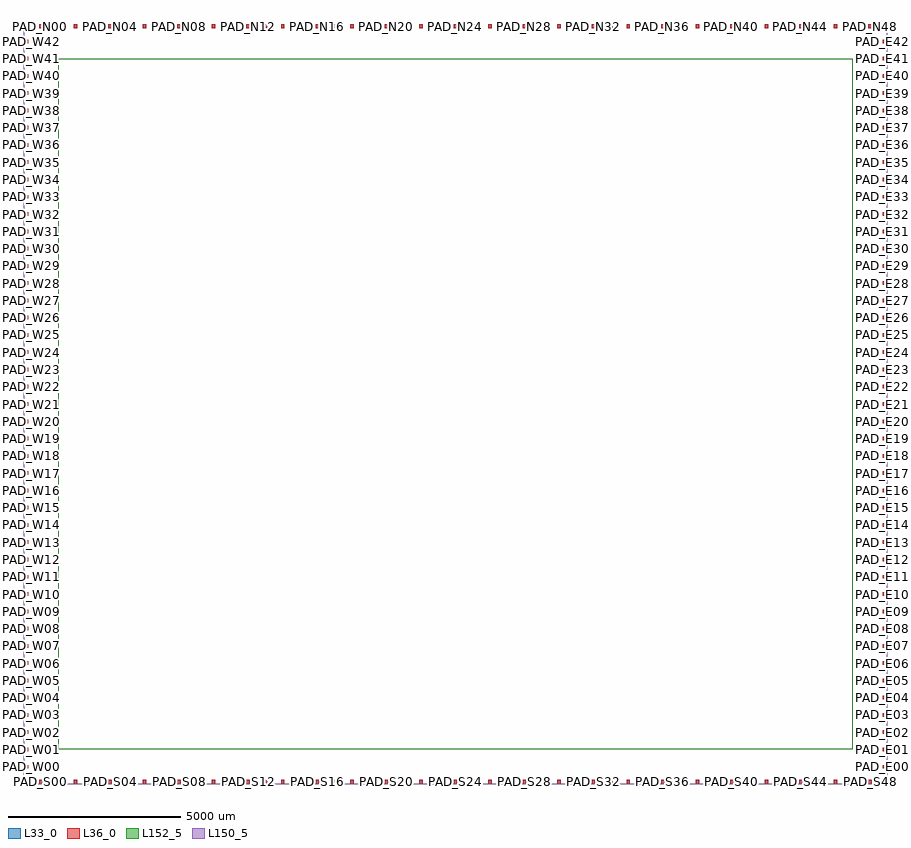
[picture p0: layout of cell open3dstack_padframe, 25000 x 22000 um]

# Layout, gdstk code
import gdstk
lib = gdstk.Library(unit=1e-6, precision=1e-09)
def R(c, l, rs):  # rectangles x0, y0, x1, y1
    for r in rs: c.add(gdstk.rectangle(r[:2], r[2:], *l))
def A(c, l, x, y, w, h, nx, ny, dx, dy):  # array of equal rectangles
    R(c, l, [(x+i*dx, y+j*dy, x+i*dx+w, y+j*dy+h) for i in range(nx) for j in range(ny)])
L33_0 = (33, 0)
L36_0 = (36, 0)
L150_5 = (150, 5)
L152_5 = (152, 5)

open3dstack_padframe = lib.new_cell('open3dstack_padframe')
A(open3dstack_padframe, L33_0, 450, 0, 100, 130, 49, 2, 500, 21870)
A(open3dstack_padframe, L33_0, 0, 450, 130, 100, 1, 43, 0, 500)
A(open3dstack_padframe, L33_0, 24870, 450, 130, 100, 1, 43, 0, 500)
A(open3dstack_padframe, L36_0, 450, 0, 100, 130, 49, 2, 500, 21870)
A(open3dstack_padframe, L36_0, 0, 450, 130, 100, 1, 43, 0, 500)
A(open3dstack_padframe, L36_0, 24870, 450, 130, 100, 1, 43, 0, 500)
R(open3dstack_padframe, L150_5, [(0,0,25000,10), (0,0,10,22000), (24990,0,25000,22000), (0,21990,25000,22000)])
R(open3dstack_padframe, L152_5, [(1000,1000,24000,1020), (1000,1000,1020,21000), (23980,1000,24000,21000), (1000,20980,24000,21000)])
open3dstack_padframe.add(gdstk.Label('PAD_S00', (500,65), layer=54, texttype=3))
open3dstack_padframe.add(gdstk.Label('PAD_S01', (1000,65), layer=54, texttype=3))
open3dstack_padframe.add(gdstk.Label('PAD_S02', (1500,65), layer=54, texttype=3))
open3dstack_padframe.add(gdstk.Label('PAD_S03', (2000,65), layer=54, texttype=3))
open3dstack_padframe.add(gdstk.Label('PAD_S04', (2500,65), layer=54, texttype=3))
open3dstack_padframe.add(gdstk.Label('PAD_S05', (3000,65), layer=54, texttype=3))
open3dstack_padframe.add(gdstk.Label('PAD_S06', (3500,65), layer=54, texttype=3))
open3dstack_padframe.add(gdstk.Label('PAD_S07', (4000,65), layer=54, texttype=3))
open3dstack_padframe.add(gdstk.Label('PAD_S08', (4500,65), layer=54, texttype=3))
open3dstack_padframe.add(gdstk.Label('PAD_S09', (5000,65), layer=54, texttype=3))
open3dstack_padframe.add(gdstk.Label('PAD_S10', (5500,65), layer=54, texttype=3))
open3dstack_padframe.add(gdstk.Label('PAD_S11', (6000,65), layer=54, texttype=3))
open3dstack_padframe.add(gdstk.Label('PAD_S12', (6500,65), layer=54, texttype=3))
open3dstack_padframe.add(gdstk.Label('PAD_S13', (7000,65), layer=54, texttype=3))
open3dstack_padframe.add(gdstk.Label('PAD_S14', (7500,65), layer=54, texttype=3))
open3dstack_padframe.add(gdstk.Label('PAD_S15', (8000,65), layer=54, texttype=3))
open3dstack_padframe.add(gdstk.Label('PAD_S16', (8500,65), layer=54, texttype=3))
open3dstack_padframe.add(gdstk.Label('PAD_S17', (9000,65), layer=54, texttype=3))
open3dstack_padframe.add(gdstk.Label('PAD_S18', (9500,65), layer=54, texttype=3))
open3dstack_padframe.add(gdstk.Label('PAD_S19', (10000,65), layer=54, texttype=3))
open3dstack_padframe.add(gdstk.Label('PAD_S20', (10500,65), layer=54, texttype=3))
open3dstack_padframe.add(gdstk.Label('PAD_S21', (11000,65), layer=54, texttype=3))
open3dstack_padframe.add(gdstk.Label('PAD_S22', (11500,65), layer=54, texttype=3))
open3dstack_padframe.add(gdstk.Label('PAD_S23', (12000,65), layer=54, texttype=3))
open3dstack_padframe.add(gdstk.Label('PAD_S24', (12500,65), layer=54, texttype=3))
open3dstack_padframe.add(gdstk.Label('PAD_S25', (13000,65), layer=54, texttype=3))
open3dstack_padframe.add(gdstk.Label('PAD_S26', (13500,65), layer=54, texttype=3))
open3dstack_padframe.add(gdstk.Label('PAD_S27', (14000,65), layer=54, texttype=3))
open3dstack_padframe.add(gdstk.Label('PAD_S28', (14500,65), layer=54, texttype=3))
open3dstack_padframe.add(gdstk.Label('PAD_S29', (15000,65), layer=54, texttype=3))
open3dstack_padframe.add(gdstk.Label('PAD_S30', (15500,65), layer=54, texttype=3))
open3dstack_padframe.add(gdstk.Label('PAD_S31', (16000,65), layer=54, texttype=3))
open3dstack_padframe.add(gdstk.Label('PAD_S32', (16500,65), layer=54, texttype=3))
open3dstack_padframe.add(gdstk.Label('PAD_S33', (17000,65), layer=54, texttype=3))
open3dstack_padframe.add(gdstk.Label('PAD_S34', (17500,65), layer=54, texttype=3))
open3dstack_padframe.add(gdstk.Label('PAD_S35', (18000,65), layer=54, texttype=3))
open3dstack_padframe.add(gdstk.Label('PAD_S36', (18500,65), layer=54, texttype=3))
open3dstack_padframe.add(gdstk.Label('PAD_S37', (19000,65), layer=54, texttype=3))
open3dstack_padframe.add(gdstk.Label('PAD_S38', (19500,65), layer=54, texttype=3))
open3dstack_padframe.add(gdstk.Label('PAD_S39', (20000,65), layer=54, texttype=3))
open3dstack_padframe.add(gdstk.Label('PAD_S40', (20500,65), layer=54, texttype=3))
open3dstack_padframe.add(gdstk.Label('PAD_S41', (21000,65), layer=54, texttype=3))
open3dstack_padframe.add(gdstk.Label('PAD_S42', (21500,65), layer=54, texttype=3))
open3dstack_padframe.add(gdstk.Label('PAD_S43', (22000,65), layer=54, texttype=3))
open3dstack_padframe.add(gdstk.Label('PAD_S44', (22500,65), layer=54, texttype=3))
open3dstack_padframe.add(gdstk.Label('PAD_S45', (23000,65), layer=54, texttype=3))
open3dstack_padframe.add(gdstk.Label('PAD_S46', (23500,65), layer=54, texttype=3))
open3dstack_padframe.add(gdstk.Label('PAD_S47', (24000,65), layer=54, texttype=3))
open3dstack_padframe.add(gdstk.Label('PAD_S48', (24500,65), layer=54, texttype=3))
open3dstack_padframe.add(gdstk.Label('PAD_E00', (24935,500), layer=54, texttype=3))
open3dstack_padframe.add(gdstk.Label('PAD_E01', (24935,1000), layer=54, texttype=3))
open3dstack_padframe.add(gdstk.Label('PAD_E02', (24935,1500), layer=54, texttype=3))
open3dstack_padframe.add(gdstk.Label('PAD_E03', (24935,2000), layer=54, texttype=3))
open3dstack_padframe.add(gdstk.Label('PAD_E04', (24935,2500), layer=54, texttype=3))
open3dstack_padframe.add(gdstk.Label('PAD_E05', (24935,3000), layer=54, texttype=3))
open3dstack_padframe.add(gdstk.Label('PAD_E06', (24935,3500), layer=54, texttype=3))
open3dstack_padframe.add(gdstk.Label('PAD_E07', (24935,4000), layer=54, texttype=3))
open3dstack_padframe.add(gdstk.Label('PAD_E08', (24935,4500), layer=54, texttype=3))
open3dstack_padframe.add(gdstk.Label('PAD_E09', (24935,5000), layer=54, texttype=3))
open3dstack_padframe.add(gdstk.Label('PAD_E10', (24935,5500), layer=54, texttype=3))
open3dstack_padframe.add(gdstk.Label('PAD_E11', (24935,6000), layer=54, texttype=3))
open3dstack_padframe.add(gdstk.Label('PAD_E12', (24935,6500), layer=54, texttype=3))
open3dstack_padframe.add(gdstk.Label('PAD_E13', (24935,7000), layer=54, texttype=3))
open3dstack_padframe.add(gdstk.Label('PAD_E14', (24935,7500), layer=54, texttype=3))
open3dstack_padframe.add(gdstk.Label('PAD_E15', (24935,8000), layer=54, texttype=3))
open3dstack_padframe.add(gdstk.Label('PAD_E16', (24935,8500), layer=54, texttype=3))
open3dstack_padframe.add(gdstk.Label('PAD_E17', (24935,9000), layer=54, texttype=3))
open3dstack_padframe.add(gdstk.Label('PAD_E18', (24935,9500), layer=54, texttype=3))
open3dstack_padframe.add(gdstk.Label('PAD_E19', (24935,10000), layer=54, texttype=3))
open3dstack_padframe.add(gdstk.Label('PAD_E20', (24935,10500), layer=54, texttype=3))
open3dstack_padframe.add(gdstk.Label('PAD_E21', (24935,11000), layer=54, texttype=3))
open3dstack_padframe.add(gdstk.Label('PAD_E22', (24935,11500), layer=54, texttype=3))
open3dstack_padframe.add(gdstk.Label('PAD_E23', (24935,12000), layer=54, texttype=3))
open3dstack_padframe.add(gdstk.Label('PAD_E24', (24935,12500), layer=54, texttype=3))
open3dstack_padframe.add(gdstk.Label('PAD_E25', (24935,13000), layer=54, texttype=3))
open3dstack_padframe.add(gdstk.Label('PAD_E26', (24935,13500), layer=54, texttype=3))
open3dstack_padframe.add(gdstk.Label('PAD_E27', (24935,14000), layer=54, texttype=3))
open3dstack_padframe.add(gdstk.Label('PAD_E28', (24935,14500), layer=54, texttype=3))
open3dstack_padframe.add(gdstk.Label('PAD_E29', (24935,15000), layer=54, texttype=3))
open3dstack_padframe.add(gdstk.Label('PAD_E30', (24935,15500), layer=54, texttype=3))
open3dstack_padframe.add(gdstk.Label('PAD_E31', (24935,16000), layer=54, texttype=3))
open3dstack_padframe.add(gdstk.Label('PAD_E32', (24935,16500), layer=54, texttype=3))
open3dstack_padframe.add(gdstk.Label('PAD_E33', (24935,17000), layer=54, texttype=3))
open3dstack_padframe.add(gdstk.Label('PAD_E34', (24935,17500), layer=54, texttype=3))
open3dstack_padframe.add(gdstk.Label('PAD_E35', (24935,18000), layer=54, texttype=3))
open3dstack_padframe.add(gdstk.Label('PAD_E36', (24935,18500), layer=54, texttype=3))
open3dstack_padframe.add(gdstk.Label('PAD_E37', (24935,19000), layer=54, texttype=3))
open3dstack_padframe.add(gdstk.Label('PAD_E38', (24935,19500), layer=54, texttype=3))
open3dstack_padframe.add(gdstk.Label('PAD_E39', (24935,20000), layer=54, texttype=3))
open3dstack_padframe.add(gdstk.Label('PAD_E40', (24935,20500), layer=54, texttype=3))
open3dstack_padframe.add(gdstk.Label('PAD_E41', (24935,21000), layer=54, texttype=3))
open3dstack_padframe.add(gdstk.Label('PAD_E42', (24935,21500), layer=54, texttype=3))
open3dstack_padframe.add(gdstk.Label('PAD_N00', (500,21935), layer=54, texttype=3))
open3dstack_padframe.add(gdstk.Label('PAD_N01', (1000,21935), layer=54, texttype=3))
open3dstack_padframe.add(gdstk.Label('PAD_N02', (1500,21935), layer=54, texttype=3))
open3dstack_padframe.add(gdstk.Label('PAD_N03', (2000,21935), layer=54, texttype=3))
open3dstack_padframe.add(gdstk.Label('PAD_N04', (2500,21935), layer=54, texttype=3))
open3dstack_padframe.add(gdstk.Label('PAD_N05', (3000,21935), layer=54, texttype=3))
open3dstack_padframe.add(gdstk.Label('PAD_N06', (3500,21935), layer=54, texttype=3))
open3dstack_padframe.add(gdstk.Label('PAD_N07', (4000,21935), layer=54, texttype=3))
open3dstack_padframe.add(gdstk.Label('PAD_N08', (4500,21935), layer=54, texttype=3))
open3dstack_padframe.add(gdstk.Label('PAD_N09', (5000,21935), layer=54, texttype=3))
open3dstack_padframe.add(gdstk.Label('PAD_N10', (5500,21935), layer=54, texttype=3))
open3dstack_padframe.add(gdstk.Label('PAD_N11', (6000,21935), layer=54, texttype=3))
open3dstack_padframe.add(gdstk.Label('PAD_N12', (6500,21935), layer=54, texttype=3))
open3dstack_padframe.add(gdstk.Label('PAD_N13', (7000,21935), layer=54, texttype=3))
open3dstack_padframe.add(gdstk.Label('PAD_N14', (7500,21935), layer=54, texttype=3))
open3dstack_padframe.add(gdstk.Label('PAD_N15', (8000,21935), layer=54, texttype=3))
open3dstack_padframe.add(gdstk.Label('PAD_N16', (8500,21935), layer=54, texttype=3))
open3dstack_padframe.add(gdstk.Label('PAD_N17', (9000,21935), layer=54, texttype=3))
open3dstack_padframe.add(gdstk.Label('PAD_N18', (9500,21935), layer=54, texttype=3))
open3dstack_padframe.add(gdstk.Label('PAD_N19', (10000,21935), layer=54, texttype=3))
open3dstack_padframe.add(gdstk.Label('PAD_N20', (10500,21935), layer=54, texttype=3))
open3dstack_padframe.add(gdstk.Label('PAD_N21', (11000,21935), layer=54, texttype=3))
open3dstack_padframe.add(gdstk.Label('PAD_N22', (11500,21935), layer=54, texttype=3))
open3dstack_padframe.add(gdstk.Label('PAD_N23', (12000,21935), layer=54, texttype=3))
open3dstack_padframe.add(gdstk.Label('PAD_N24', (12500,21935), layer=54, texttype=3))
open3dstack_padframe.add(gdstk.Label('PAD_N25', (13000,21935), layer=54, texttype=3))
open3dstack_padframe.add(gdstk.Label('PAD_N26', (13500,21935), layer=54, texttype=3))
open3dstack_padframe.add(gdstk.Label('PAD_N27', (14000,21935), layer=54, texttype=3))
open3dstack_padframe.add(gdstk.Label('PAD_N28', (14500,21935), layer=54, texttype=3))
open3dstack_padframe.add(gdstk.Label('PAD_N29', (15000,21935), layer=54, texttype=3))
open3dstack_padframe.add(gdstk.Label('PAD_N30', (15500,21935), layer=54, texttype=3))
open3dstack_padframe.add(gdstk.Label('PAD_N31', (16000,21935), layer=54, texttype=3))
open3dstack_padframe.add(gdstk.Label('PAD_N32', (16500,21935), layer=54, texttype=3))
open3dstack_padframe.add(gdstk.Label('PAD_N33', (17000,21935), layer=54, texttype=3))
open3dstack_padframe.add(gdstk.Label('PAD_N34', (17500,21935), layer=54, texttype=3))
open3dstack_padframe.add(gdstk.Label('PAD_N35', (18000,21935), layer=54, texttype=3))
open3dstack_padframe.add(gdstk.Label('PAD_N36', (18500,21935), layer=54, texttype=3))
open3dstack_padframe.add(gdstk.Label('PAD_N37', (19000,21935), layer=54, texttype=3))
open3dstack_padframe.add(gdstk.Label('PAD_N38', (19500,21935), layer=54, texttype=3))
open3dstack_padframe.add(gdstk.Label('PAD_N39', (20000,21935), layer=54, texttype=3))
open3dstack_padframe.add(gdstk.Label('PAD_N40', (20500,21935), layer=54, texttype=3))
open3dstack_padframe.add(gdstk.Label('PAD_N41', (21000,21935), layer=54, texttype=3))
open3dstack_padframe.add(gdstk.Label('PAD_N42', (21500,21935), layer=54, texttype=3))
open3dstack_padframe.add(gdstk.Label('PAD_N43', (22000,21935), layer=54, texttype=3))
open3dstack_padframe.add(gdstk.Label('PAD_N44', (22500,21935), layer=54, texttype=3))
open3dstack_padframe.add(gdstk.Label('PAD_N45', (23000,21935), layer=54, texttype=3))
open3dstack_padframe.add(gdstk.Label('PAD_N46', (23500,21935), layer=54, texttype=3))
open3dstack_padframe.add(gdstk.Label('PAD_N47', (24000,21935), layer=54, texttype=3))
open3dstack_padframe.add(gdstk.Label('PAD_N48', (24500,21935), layer=54, texttype=3))
open3dstack_padframe.add(gdstk.Label('PAD_W00', (65,500), layer=54, texttype=3))
open3dstack_padframe.add(gdstk.Label('PAD_W01', (65,1000), layer=54, texttype=3))
open3dstack_padframe.add(gdstk.Label('PAD_W02', (65,1500), layer=54, texttype=3))
open3dstack_padframe.add(gdstk.Label('PAD_W03', (65,2000), layer=54, texttype=3))
open3dstack_padframe.add(gdstk.Label('PAD_W04', (65,2500), layer=54, texttype=3))
open3dstack_padframe.add(gdstk.Label('PAD_W05', (65,3000), layer=54, texttype=3))
open3dstack_padframe.add(gdstk.Label('PAD_W06', (65,3500), layer=54, texttype=3))
open3dstack_padframe.add(gdstk.Label('PAD_W07', (65,4000), layer=54, texttype=3))
open3dstack_padframe.add(gdstk.Label('PAD_W08', (65,4500), layer=54, texttype=3))
open3dstack_padframe.add(gdstk.Label('PAD_W09', (65,5000), layer=54, texttype=3))
open3dstack_padframe.add(gdstk.Label('PAD_W10', (65,5500), layer=54, texttype=3))
open3dstack_padframe.add(gdstk.Label('PAD_W11', (65,6000), layer=54, texttype=3))
open3dstack_padframe.add(gdstk.Label('PAD_W12', (65,6500), layer=54, texttype=3))
open3dstack_padframe.add(gdstk.Label('PAD_W13', (65,7000), layer=54, texttype=3))
open3dstack_padframe.add(gdstk.Label('PAD_W14', (65,7500), layer=54, texttype=3))
open3dstack_padframe.add(gdstk.Label('PAD_W15', (65,8000), layer=54, texttype=3))
open3dstack_padframe.add(gdstk.Label('PAD_W16', (65,8500), layer=54, texttype=3))
open3dstack_padframe.add(gdstk.Label('PAD_W17', (65,9000), layer=54, texttype=3))
open3dstack_padframe.add(gdstk.Label('PAD_W18', (65,9500), layer=54, texttype=3))
open3dstack_padframe.add(gdstk.Label('PAD_W19', (65,10000), layer=54, texttype=3))
open3dstack_padframe.add(gdstk.Label('PAD_W20', (65,10500), layer=54, texttype=3))
open3dstack_padframe.add(gdstk.Label('PAD_W21', (65,11000), layer=54, texttype=3))
open3dstack_padframe.add(gdstk.Label('PAD_W22', (65,11500), layer=54, texttype=3))
open3dstack_padframe.add(gdstk.Label('PAD_W23', (65,12000), layer=54, texttype=3))
open3dstack_padframe.add(gdstk.Label('PAD_W24', (65,12500), layer=54, texttype=3))
open3dstack_padframe.add(gdstk.Label('PAD_W25', (65,13000), layer=54, texttype=3))
open3dstack_padframe.add(gdstk.Label('PAD_W26', (65,13500), layer=54, texttype=3))
open3dstack_padframe.add(gdstk.Label('PAD_W27', (65,14000), layer=54, texttype=3))
open3dstack_padframe.add(gdstk.Label('PAD_W28', (65,14500), layer=54, texttype=3))
open3dstack_padframe.add(gdstk.Label('PAD_W29', (65,15000), layer=54, texttype=3))
open3dstack_padframe.add(gdstk.Label('PAD_W30', (65,15500), layer=54, texttype=3))
open3dstack_padframe.add(gdstk.Label('PAD_W31', (65,16000), layer=54, texttype=3))
open3dstack_padframe.add(gdstk.Label('PAD_W32', (65,16500), layer=54, texttype=3))
open3dstack_padframe.add(gdstk.Label('PAD_W33', (65,17000), layer=54, texttype=3))
open3dstack_padframe.add(gdstk.Label('PAD_W34', (65,17500), layer=54, texttype=3))
open3dstack_padframe.add(gdstk.Label('PAD_W35', (65,18000), layer=54, texttype=3))
open3dstack_padframe.add(gdstk.Label('PAD_W36', (65,18500), layer=54, texttype=3))
open3dstack_padframe.add(gdstk.Label('PAD_W37', (65,19000), layer=54, texttype=3))
open3dstack_padframe.add(gdstk.Label('PAD_W38', (65,19500), layer=54, texttype=3))
open3dstack_padframe.add(gdstk.Label('PAD_W39', (65,20000), layer=54, texttype=3))
open3dstack_padframe.add(gdstk.Label('PAD_W40', (65,20500), layer=54, texttype=3))
open3dstack_padframe.add(gdstk.Label('PAD_W41', (65,21000), layer=54, texttype=3))
open3dstack_padframe.add(gdstk.Label('PAD_W42', (65,21500), layer=54, texttype=3))

lib.write_gds('open3dstack_padframe.gds')
